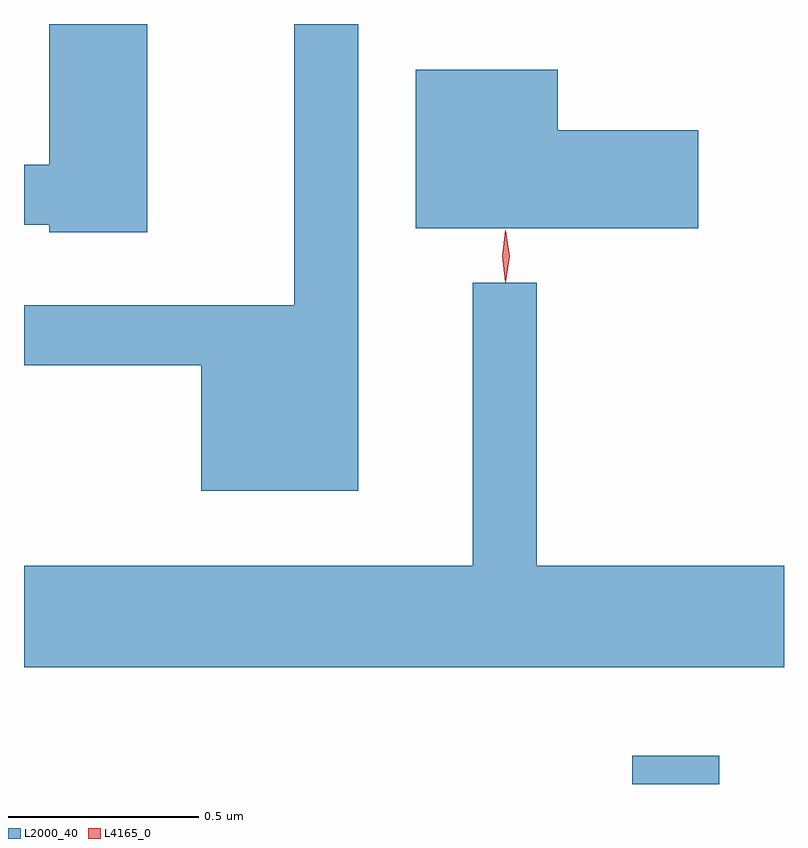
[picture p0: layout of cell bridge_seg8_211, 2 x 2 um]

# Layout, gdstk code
import gdstk
lib = gdstk.Library(unit=1e-6, precision=1e-09)
def R(c, l, rs):  # rectangles x0, y0, x1, y1
    for r in rs: c.add(gdstk.rectangle(r[:2], r[2:], *l))
def P(c, l, *ps):  # polygons
    for p in ps: c.add(gdstk.Polygon(p, *l))
L2000_40 = (2000, 40)
L4165_0 = (4165, 0)

bridge_seg8_211 = lib.new_cell('bridge_seg8_211')
R(bridge_seg8_211, L2000_40, [(1216.171,1904.929,1216.399,1905.004)])
P(bridge_seg8_211, L2000_40, [(1214.894,1906.929),(1214.636,1906.929),(1214.636,1906.559),(1214.57,1906.559),(1214.57,1906.401),(1214.636,1906.401),(1214.636,1906.381),(1214.894,1906.381)],
  [(1215.449,1906.929),(1215.281,1906.929),(1215.281,1906.189),(1214.57,1906.189),(1214.57,1906.031),(1215.036,1906.031),(1215.036,1905.701),(1215.449,1905.701)],
  [(1216.344,1906.649),(1215.974,1906.649),(1215.974,1906.809),(1215.601,1906.809),(1215.601,1906.391),(1216.344,1906.391)],
  [(1216.57,1905.504),(1215.919,1905.504),(1215.919,1906.248),(1215.751,1906.248),(1215.751,1905.504),(1214.57,1905.504),(1214.57,1905.236),(1216.57,1905.236)])
P(bridge_seg8_211, L4165_0, [(1215.837,1906.253),(1215.828,1906.316),(1215.837,1906.379),(1215.838,1906.38),(1215.838,1906.379),(1215.848,1906.316),(1215.838,1906.253),(1215.838,1906.253)],
  [(1215.837,1906.25),(1215.828,1906.318),(1215.837,1906.386),(1215.838,1906.386),(1215.838,1906.386),(1215.848,1906.318),(1215.838,1906.25),(1215.838,1906.25)])

lib.write_gds('bridge_seg8_211.gds')
